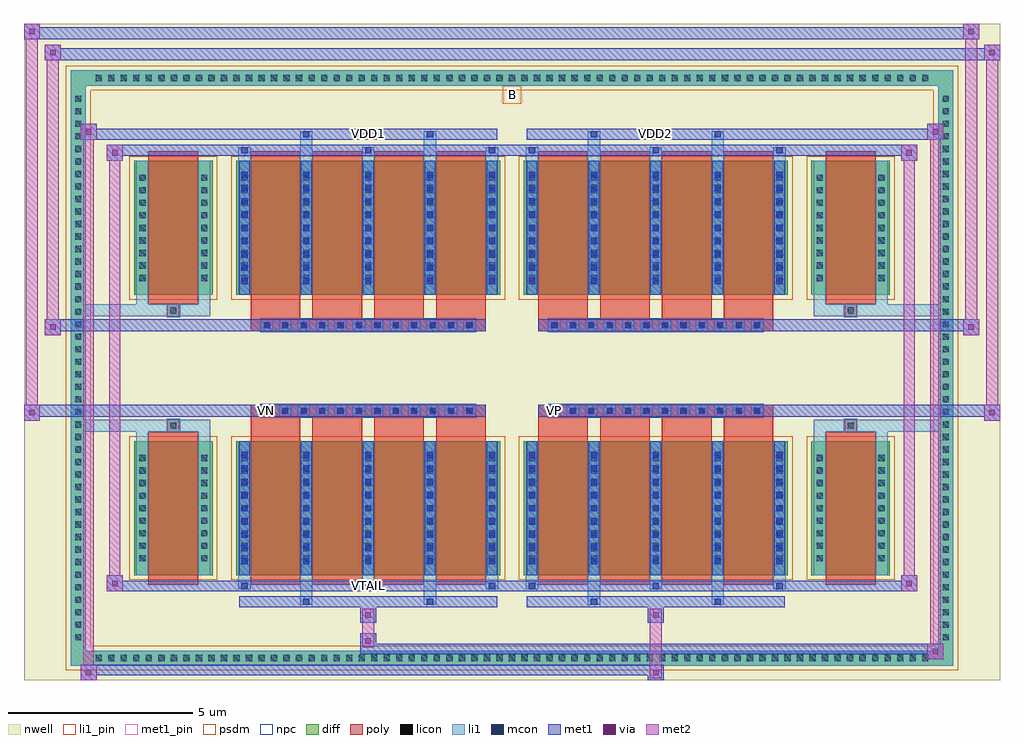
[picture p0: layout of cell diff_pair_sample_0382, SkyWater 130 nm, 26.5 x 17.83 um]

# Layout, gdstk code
import gdstk
lib = gdstk.Library(unit=1e-6, precision=5e-09)
def R(c, l, rs):  # rectangles x0, y0, x1, y1
    for r in rs: c.add(gdstk.rectangle(r[:2], r[2:], *l))
def A(c, l, x, y, w, h, nx, ny, dx, dy):  # array of equal rectangles
    R(c, l, [(x+i*dx, y+j*dy, x+i*dx+w, y+j*dy+h) for i in range(nx) for j in range(ny)])
def P(c, l, *ps):  # polygons
    for p in ps: c.add(gdstk.Polygon(p, *l))
nwell = (64, 20)
diff = (65, 20)
poly = (66, 20)
licon = (66, 44)
li1_pin = (67, 16)
li1 = (67, 20)
mcon = (67, 44)
met1_pin = (68, 16)
met1 = (68, 20)
via = (68, 44)
met2 = (69, 20)
psdm = (94, 20)
npc = (95, 20)

diff_pair_sample_0382 = lib.new_cell('diff_pair_sample_0382')
R(diff_pair_sample_0382, nwell, [(-13.25,-8.48,13.25,9.35), (-10.57,-6.67,-0.01,-0.795), (0.01,-6.67,10.57,-0.795), (-10.57,0.795,-0.01,6.67), (0.01,0.795,10.57,6.67)])
A(diff_pair_sample_0382, diff, -11.425, -8.08, 0.41, 0.41, 67, 2, 0.34, 15.75)
A(diff_pair_sample_0382, diff, -11.98, -7.515, 0.41, 0.41, 1, 44, 0, 0.34)
A(diff_pair_sample_0382, diff, 11.57, -7.515, 0.41, 0.41, 1, 44, 0, 0.34)
R(diff_pair_sample_0382, diff, [(-11.425,-8.08,11.425,-7.67), (-11.98,-7.515,-11.57,7.515), (11.57,-7.515,11.98,7.515), (-10.26,-5.625,-8.13,-1.985), (-7.49,-5.625,-0.32,-1.985), (0.32,-5.625,7.49,-1.985), (8.13,-5.625,10.26,-1.985), (-10.26,1.985,-8.13,5.625), (-7.49,1.985,-0.32,5.625), (0.32,1.985,7.49,5.625), (8.13,1.985,10.26,5.625), (-11.425,7.67,11.425,8.08)])
P(diff_pair_sample_0382, diff, [(11.98,8.08),(-11.98,8.08),(-11.98,-7.67),(-11.57,-7.67),(-11.57,7.67),(11.57,7.67),(11.57,-7.67),(-11.57,-7.67),(-11.98,-7.67),(-11.98,-8.08),(11.98,-8.08)])
A(diff_pair_sample_0382, poly, -7.1, -5.88, 1.35, 4.15, 4, 2, 1.68, 7.61)
A(diff_pair_sample_0382, poly, 0.71, -5.88, 1.35, 4.15, 4, 2, 1.68, 7.61)
A(diff_pair_sample_0382, poly, -7.1, -1.73, 1.35, 0.405, 4, 2, 1.68, 3.055)
A(diff_pair_sample_0382, poly, 0.71, -1.73, 1.35, 0.405, 4, 2, 1.68, 3.055)
A(diff_pair_sample_0382, poly, -6.82, -1.325, 0.33, 0.33, 12, 2, 0.5, 2.32)
A(diff_pair_sample_0382, poly, 0.99, -1.325, 0.33, 0.33, 12, 2, 0.5, 2.32)
R(diff_pair_sample_0382, poly, [(-9.87,-5.88,-8.52,-1.73), (8.52,-5.88,9.87,-1.73), (-9.36,-1.73,-9.03,-1.4), (-9.36,-1.73,-9.03,-1.4), (9.03,-1.73,9.36,-1.4), (9.03,-1.73,9.36,-1.4), (-7.1,-1.325,-0.71,-0.995), (0.71,-1.325,7.1,-0.995), (-7.1,0.995,-0.71,1.325), (0.71,0.995,7.1,1.325), (-9.36,1.4,-9.03,1.73), (-9.36,1.4,-9.03,1.73), (9.03,1.4,9.36,1.73), (9.03,1.4,9.36,1.73), (-9.87,1.73,-8.52,5.88), (8.52,1.73,9.87,5.88)])
A(diff_pair_sample_0382, licon, -11.305, -7.96, 0.17, 0.17, 67, 2, 0.34, 15.75)
A(diff_pair_sample_0382, licon, -11.86, -7.395, 0.17, 0.17, 1, 44, 0, 0.34)
A(diff_pair_sample_0382, licon, 11.69, -7.395, 0.17, 0.17, 1, 44, 0, 0.34)
A(diff_pair_sample_0382, licon, -10.12, -5.25, 0.17, 0.17, 1, 9, 0, 0.34)
A(diff_pair_sample_0382, licon, -8.44, -5.25, 0.17, 0.17, 1, 9, 0, 0.34)
A(diff_pair_sample_0382, licon, -7.35, -5.25, 0.17, 0.17, 5, 9, 1.68, 0.34)
A(diff_pair_sample_0382, licon, 0.46, -5.25, 0.17, 0.17, 5, 9, 1.68, 0.34)
A(diff_pair_sample_0382, licon, 8.27, -5.25, 0.17, 0.17, 1, 9, 0, 0.34)
A(diff_pair_sample_0382, licon, 9.95, -5.25, 0.17, 0.17, 1, 9, 0, 0.34)
A(diff_pair_sample_0382, licon, -6.74, -1.245, 0.17, 0.17, 12, 2, 0.5, 2.32)
A(diff_pair_sample_0382, licon, 1.07, -1.245, 0.17, 0.17, 12, 2, 0.5, 2.32)
A(diff_pair_sample_0382, licon, -10.12, 2.36, 0.17, 0.17, 1, 9, 0, 0.34)
A(diff_pair_sample_0382, licon, -8.44, 2.36, 0.17, 0.17, 1, 9, 0, 0.34)
A(diff_pair_sample_0382, licon, -7.35, 2.36, 0.17, 0.17, 5, 9, 1.68, 0.34)
A(diff_pair_sample_0382, licon, 0.46, 2.36, 0.17, 0.17, 5, 9, 1.68, 0.34)
A(diff_pair_sample_0382, licon, 8.27, 2.36, 0.17, 0.17, 1, 9, 0, 0.34)
A(diff_pair_sample_0382, licon, 9.95, 2.36, 0.17, 0.17, 1, 9, 0, 0.34)
R(diff_pair_sample_0382, licon, [(-9.28,-1.65,-9.11,-1.48), (9.11,-1.65,9.28,-1.48), (-9.28,1.48,-9.11,1.65), (9.11,1.48,9.28,1.65)])
R(diff_pair_sample_0382, li1_pin, [(-0.25,7.17,0.25,7.67)])
A(diff_pair_sample_0382, li1, -11.385, -8.04, 0.33, 0.33, 67, 2, 0.34, 15.75)
A(diff_pair_sample_0382, li1, -11.94, -7.475, 0.33, 0.33, 1, 44, 0, 0.34)
A(diff_pair_sample_0382, li1, 11.61, -7.475, 0.33, 0.33, 1, 44, 0, 0.34)
A(diff_pair_sample_0382, li1, -7.43, -6, 0.33, 0.375, 3, 2, 3.36, 11.625)
A(diff_pair_sample_0382, li1, -7.35, -6, 0.17, 0.17, 3, 2, 3.36, 11.83)
A(diff_pair_sample_0382, li1, 0.38, -6, 0.33, 0.375, 3, 2, 3.36, 11.625)
A(diff_pair_sample_0382, li1, 0.46, -6, 0.17, 0.17, 3, 2, 3.36, 11.83)
A(diff_pair_sample_0382, li1, -7.43, -5.625, 0.33, 3.64, 5, 2, 1.68, 7.61)
A(diff_pair_sample_0382, li1, 0.38, -5.625, 0.33, 3.64, 5, 2, 1.68, 7.61)
A(diff_pair_sample_0382, li1, -10.2, -5.33, 0.33, 0.33, 1, 9, 0, 0.34)
A(diff_pair_sample_0382, li1, -8.52, -5.33, 0.33, 0.33, 1, 9, 0, 0.34)
A(diff_pair_sample_0382, li1, -7.43, -5.33, 0.33, 0.33, 5, 9, 1.68, 0.34)
A(diff_pair_sample_0382, li1, -7.35, -5.33, 0.17, 0.17, 5, 9, 1.68, 0.36)
A(diff_pair_sample_0382, li1, -7.35, -5.33, 0.17, 3.05, 5, 2, 1.68, 7.61)
A(diff_pair_sample_0382, li1, 0.38, -5.33, 0.33, 0.33, 5, 9, 1.68, 0.34)
A(diff_pair_sample_0382, li1, 0.46, -5.33, 0.17, 0.17, 5, 9, 1.68, 0.36)
A(diff_pair_sample_0382, li1, 0.46, -5.33, 0.17, 3.05, 5, 2, 1.68, 7.61)
A(diff_pair_sample_0382, li1, 8.19, -5.33, 0.33, 0.33, 1, 9, 0, 0.34)
A(diff_pair_sample_0382, li1, 9.87, -5.33, 0.33, 0.33, 1, 9, 0, 0.34)
A(diff_pair_sample_0382, li1, -6.82, -1.325, 0.33, 0.33, 12, 2, 0.5, 2.32)
A(diff_pair_sample_0382, li1, 0.99, -1.325, 0.33, 0.33, 12, 2, 0.5, 2.32)
A(diff_pair_sample_0382, li1, -10.2, 2.28, 0.33, 0.33, 1, 9, 0, 0.34)
A(diff_pair_sample_0382, li1, -8.52, 2.28, 0.33, 0.33, 1, 9, 0, 0.34)
A(diff_pair_sample_0382, li1, -7.43, 2.28, 0.33, 0.33, 5, 9, 1.68, 0.34)
A(diff_pair_sample_0382, li1, -7.35, 2.28, 0.17, 0.17, 5, 9, 1.68, 0.36)
A(diff_pair_sample_0382, li1, 0.38, 2.28, 0.33, 0.33, 5, 9, 1.68, 0.34)
A(diff_pair_sample_0382, li1, 0.46, 2.28, 0.17, 0.17, 5, 9, 1.68, 0.36)
A(diff_pair_sample_0382, li1, 8.19, 2.28, 0.33, 0.33, 1, 9, 0, 0.34)
A(diff_pair_sample_0382, li1, 9.87, 2.28, 0.33, 0.33, 1, 9, 0, 0.34)
R(diff_pair_sample_0382, li1, [(-11.98,-8.08,-11.57,-7.67), (-11.98,-8.08,-11.57,-7.67), (-11.57,-8.08,11.57,-7.67), (11.57,-8.08,11.98,-7.67), (11.57,-8.08,11.98,-7.67), (-11.98,-7.67,-11.57,7.67), (11.57,-7.67,11.98,7.67), (-5.75,-6.43,-5.42,-5.625), (-5.67,-6.43,-5.5,-6.26), (-2.39,-6.43,-2.06,-5.625), (-2.31,-6.43,-2.14,-6.26), (2.06,-6.43,2.39,-5.625), (2.14,-6.43,2.31,-6.26), (5.42,-6.43,5.75,-5.625), (5.5,-6.43,5.67,-6.26), (-10.2,-5.625,-9.87,-1.985), (-8.52,-5.625,-8.19,-1.985), (8.19,-5.625,8.52,-1.985), (9.87,-5.625,10.2,-1.985), (-10.2,-1.985,-9.87,-1.4), (-8.52,-1.985,-8.19,-1.4), (8.19,-1.985,8.52,-1.4), (9.87,-1.985,10.2,-1.4), (-11.98,-1.73,-9.36,-1.4), (-10.2,-1.73,-9.36,-1.4), (-9.36,-1.73,-9.03,-1.4), (-9.03,-1.73,-8.19,-1.4), (8.19,-1.73,9.03,-1.4), (9.03,-1.73,9.36,-1.4), (9.03,-1.73,11.98,-1.4), (9.36,-1.73,10.2,-1.4), (-11.98,1.4,-9.36,1.73), (-10.2,1.4,-9.36,1.73), (-10.2,1.4,-9.87,1.985), (-9.36,1.4,-9.03,1.73), (-9.03,1.4,-8.19,1.73), (-8.52,1.4,-8.19,1.985), (8.19,1.4,9.03,1.73), (8.19,1.4,8.52,1.985), (9.03,1.4,9.36,1.73), (9.03,1.4,11.98,1.73), (9.36,1.4,10.2,1.73), (9.87,1.4,10.2,1.985), (-10.2,1.985,-9.87,5.625), (-8.52,1.985,-8.19,5.625), (8.19,1.985,8.52,5.625), (9.87,1.985,10.2,5.625), (-5.75,5.625,-5.42,6.43), (-2.39,5.625,-2.06,6.43), (2.06,5.625,2.39,6.43), (5.42,5.625,5.75,6.43), (-5.67,6.26,-5.5,6.43), (-2.31,6.26,-2.14,6.43), (2.14,6.26,2.31,6.43), (5.5,6.26,5.67,6.43), (-11.98,7.67,-11.57,8.08), (-11.98,7.67,-11.57,8.08), (-11.57,7.67,11.57,8.08), (11.57,7.67,11.98,8.08), (11.57,7.67,11.98,8.08)])
A(diff_pair_sample_0382, mcon, -7.35, -6, 0.17, 0.17, 3, 2, 3.36, 11.83)
A(diff_pair_sample_0382, mcon, 0.46, -6, 0.17, 0.17, 3, 2, 3.36, 11.83)
A(diff_pair_sample_0382, mcon, -7.35, -5.33, 0.17, 0.17, 5, 9, 1.68, 0.36)
A(diff_pair_sample_0382, mcon, 0.46, -5.33, 0.17, 0.17, 5, 9, 1.68, 0.36)
A(diff_pair_sample_0382, mcon, -6.74, -1.245, 0.17, 0.17, 12, 2, 0.5, 2.32)
A(diff_pair_sample_0382, mcon, 1.07, -1.245, 0.17, 0.17, 12, 2, 0.5, 2.32)
A(diff_pair_sample_0382, mcon, -7.35, 2.28, 0.17, 0.17, 5, 9, 1.68, 0.36)
A(diff_pair_sample_0382, mcon, 0.46, 2.28, 0.17, 0.17, 5, 9, 1.68, 0.36)
R(diff_pair_sample_0382, mcon, [(-5.67,-6.43,-5.5,-6.26), (-2.31,-6.43,-2.14,-6.26), (2.14,-6.43,2.31,-6.26), (5.5,-6.43,5.67,-6.26), (-5.67,6.26,-5.5,6.43), (-2.31,6.26,-2.14,6.43), (2.14,6.26,2.31,6.43), (5.5,6.26,5.67,6.43)])
R(diff_pair_sample_0382, met1_pin, [(-4.04,-6.04,-3.77,-5.77), (-6.79,-1.285,-6.52,-1.015), (1.02,-1.285,1.29,-1.015), (-4.04,6.22,-3.77,6.49), (3.77,6.22,4.04,6.49)])
A(diff_pair_sample_0382, met1, -7.41, -6.06, 0.29, 0.29, 3, 2, 3.36, 11.83)
A(diff_pair_sample_0382, met1, 0.4, -6.06, 0.29, 0.29, 3, 2, 3.36, 11.83)
A(diff_pair_sample_0382, met1, -7.41, -5.625, 0.29, 3.64, 5, 2, 1.68, 7.61)
A(diff_pair_sample_0382, met1, 0.4, -5.625, 0.29, 3.64, 5, 2, 1.68, 7.61)
A(diff_pair_sample_0382, met1, -7.41, -5.39, 0.29, 0.29, 5, 9, 1.68, 0.36)
A(diff_pair_sample_0382, met1, 0.4, -5.39, 0.29, 0.29, 5, 9, 1.68, 0.36)
A(diff_pair_sample_0382, met1, -6.8, -1.305, 0.29, 0.29, 12, 2, 0.5, 2.32)
A(diff_pair_sample_0382, met1, 1.01, -1.305, 0.29, 0.29, 12, 2, 0.5, 2.32)
A(diff_pair_sample_0382, met1, -7.41, 2.22, 0.29, 0.29, 5, 9, 1.68, 0.36)
A(diff_pair_sample_0382, met1, 0.4, 2.22, 0.29, 0.29, 5, 9, 1.68, 0.36)
R(diff_pair_sample_0382, met1, [(-11.71,-8.48,-11.28,-8.05), (3.69,-8.48,4.12,-8.05), (-11.71,-8.34,4.12,-8.05), (11.28,-7.91,11.71,-7.48), (-4.12,-7.77,11.71,-7.48), (-4.12,-7.63,-3.69,-7.2), (-4.12,-6.92,-3.69,-6.49), (3.69,-6.92,4.12,-6.49), (-7.41,-6.49,-0.4,-6.2), (-5.73,-6.49,-5.44,-6.2), (-2.37,-6.49,-2.08,-6.2), (0.4,-6.49,7.41,-6.2), (2.08,-6.49,2.37,-6.2), (5.44,-6.49,5.73,-6.2), (-11,-6.06,-10.57,-5.63), (-11,-6.06,-7.41,-5.77), (-7.41,-6.06,-0.4,-5.77), (-0.4,-6.06,0.4,-5.77), (0.4,-6.06,7.41,-5.77), (7.41,-6.06,11,-5.77), (10.57,-6.06,11,-5.63), (-13.25,-1.425,-12.82,-0.995), (12.82,-1.425,13.25,-0.995), (-13.25,-1.325,-0.71,-0.995), (-7.1,-1.325,-0.71,-0.995), (0.71,-1.325,7.1,-0.995), (0.71,-1.325,13.25,-0.995), (-12.68,0.895,-12.25,1.325), (12.25,0.895,12.68,1.325), (-12.68,0.995,-7.1,1.325), (-7.1,0.995,-0.71,1.325), (0.71,0.995,7.1,1.325), (7.1,0.995,12.68,1.325), (-11,5.63,-10.57,6.06), (10.57,5.63,11,6.06), (-11,5.77,-7.41,6.06), (-7.41,5.77,-0.4,6.06), (-0.4,5.77,0.4,6.06), (0.4,5.77,7.41,6.06), (7.41,5.77,11,6.06), (-11.71,6.2,-11.28,6.63), (-11.71,6.2,-7.41,6.49), (-7.41,6.2,-0.4,6.49), (-5.73,6.2,-5.44,6.49), (-2.37,6.2,-2.08,6.49), (0.4,6.2,7.41,6.49), (2.08,6.2,2.37,6.49), (5.44,6.2,5.73,6.49), (7.41,6.2,11.71,6.49), (11.28,6.2,11.71,6.63), (-12.68,8.35,-12.25,8.78), (-12.68,8.35,-10.57,8.68), (-10.57,8.35,10.57,8.68), (10.57,8.35,13.25,8.68), (12.82,8.35,13.25,8.78), (-13.25,8.92,-12.82,9.35), (-13.25,8.92,-10.57,9.25), (-10.57,8.92,10.57,9.25), (10.57,8.92,12.68,9.25), (12.25,8.92,12.68,9.35)])
R(diff_pair_sample_0382, via, [(-11.57,-8.34,-11.42,-8.19), (3.83,-8.34,3.98,-8.19), (11.42,-7.77,11.57,-7.62), (-3.98,-7.49,-3.83,-7.34), (-3.98,-6.78,-3.83,-6.63), (3.83,-6.78,3.98,-6.63), (-10.86,-5.92,-10.71,-5.77), (10.71,-5.92,10.86,-5.77), (-13.11,-1.285,-12.96,-1.135), (12.96,-1.285,13.11,-1.135), (-12.54,1.035,-12.39,1.185), (12.39,1.035,12.54,1.185), (-10.86,5.77,-10.71,5.92), (10.71,5.77,10.86,5.92), (-11.57,6.34,-11.42,6.49), (11.42,6.34,11.57,6.49), (-12.54,8.49,-12.39,8.64), (12.96,8.49,13.11,8.64), (-13.11,9.06,-12.96,9.21), (12.39,9.06,12.54,9.21)])
R(diff_pair_sample_0382, met2, [(-11.71,-8.48,-11.28,-8.05), (-11.64,-8.48,-11.35,6.63), (-11.35,-8.48,-11.28,-8.05), (-11.66,-8.43,-11.33,-8.1), (3.74,-8.43,4.07,-8.1), (3.74,-8.1,4.07,-6.87), (11.28,-7.91,11.71,-7.48), (11.35,-7.91,11.64,6.63), (11.64,-7.91,11.71,-7.48), (11.33,-7.86,11.66,-7.53), (-4.07,-7.58,-3.74,-7.25), (-4.07,-7.25,-3.74,-6.87), (-4.07,-6.87,-3.74,-6.54), (3.74,-6.87,4.07,-6.54), (-11,-6.06,-10.57,-5.63), (-10.93,-6.06,-10.64,6.06), (-10.64,-6.06,-10.57,-5.63), (10.57,-6.06,11,-5.63), (10.64,-6.06,10.93,6.06), (10.93,-6.06,11,-5.63), (-10.95,-6.01,-10.62,-5.68), (10.62,-6.01,10.95,-5.68), (-13.25,-1.425,-12.82,-0.995), (-13.2,-1.425,-12.87,9.35), (-12.87,-1.425,-12.82,-0.995), (12.82,-1.425,13.25,-0.995), (12.87,-1.425,13.2,8.78), (13.2,-1.425,13.25,-0.995), (-13.2,-1.375,-12.87,-1.045), (12.87,-1.375,13.2,-1.045), (-12.68,0.895,-12.25,1.325), (-12.63,0.895,-12.3,8.78), (-12.3,0.895,-12.25,1.325), (12.25,0.895,12.68,1.325), (12.3,0.895,12.63,9.35), (12.63,0.895,12.68,1.325), (-12.63,0.945,-12.3,1.275), (12.3,0.945,12.63,1.275), (-11,5.63,-10.57,6.06), (-10.64,5.63,-10.57,6.06), (10.57,5.63,11,6.06), (10.93,5.63,11,6.06), (-10.95,5.68,-10.62,6.01), (10.62,5.68,10.95,6.01), (-11.71,6.2,-11.28,6.63), (-11.35,6.2,-11.28,6.63), (11.28,6.2,11.71,6.63), (11.64,6.2,11.71,6.63), (-11.66,6.25,-11.33,6.58), (11.33,6.25,11.66,6.58), (-12.68,8.35,-12.25,8.78), (-12.3,8.35,-12.25,8.78), (12.82,8.35,13.25,8.78), (13.2,8.35,13.25,8.78), (-12.63,8.4,-12.3,8.73), (12.87,8.4,13.2,8.73), (-13.25,8.92,-12.82,9.35), (-12.87,8.92,-12.82,9.35), (12.25,8.92,12.68,9.35), (12.63,8.92,12.68,9.35), (-13.2,8.97,-12.87,9.3), (12.3,8.97,12.63,9.3)])
R(diff_pair_sample_0382, psdm, [(-10.39,-5.755,-8,-1.855), (-7.62,-5.755,-0.19,-1.855), (0.19,-5.755,7.62,-1.855), (8,-5.755,10.39,-1.855), (-10.39,1.855,-8,5.755), (-7.62,1.855,-0.19,5.755), (0.19,1.855,7.62,5.755), (8,1.855,10.39,5.755)])
P(diff_pair_sample_0382, psdm, [(12.11,8.21),(-12.11,8.21),(-12.11,-7.54),(-11.44,-7.54),(-11.44,7.54),(11.44,7.54),(11.44,-7.54),(-11.44,-7.54),(-12.11,-7.54),(-12.11,-8.21),(12.11,-8.21)])
A(diff_pair_sample_0382, npc, -6.84, -1.345, 0.37, 0.37, 12, 2, 0.5, 2.32)
A(diff_pair_sample_0382, npc, 0.97, -1.345, 0.37, 0.37, 12, 2, 0.5, 2.32)
R(diff_pair_sample_0382, npc, [(-9.38,-1.75,-9.01,-1.38), (9.01,-1.75,9.38,-1.38), (-6.84,-1.345,-5.97,-0.975), (-6.84,-1.345,-5.97,-0.975), (-6.34,-1.345,-5.47,-0.975), (-6.34,-1.345,-5.47,-0.975), (-5.84,-1.345,-4.97,-0.975), (-5.84,-1.345,-4.97,-0.975), (-5.34,-1.345,-4.47,-0.975), (-5.34,-1.345,-4.47,-0.975), (-4.84,-1.345,-3.97,-0.975), (-4.84,-1.345,-3.97,-0.975), (-4.34,-1.345,-3.47,-0.975), (-4.34,-1.345,-3.47,-0.975), (-3.84,-1.345,-2.97,-0.975), (-3.84,-1.345,-2.97,-0.975), (-3.34,-1.345,-2.47,-0.975), (-3.34,-1.345,-2.47,-0.975), (-2.84,-1.345,-1.97,-0.975), (-2.84,-1.345,-1.97,-0.975), (-2.34,-1.345,-1.47,-0.975), (-2.34,-1.345,-1.47,-0.975), (-1.84,-1.345,-0.97,-0.975), (-1.84,-1.345,-0.97,-0.975), (0.97,-1.345,1.84,-0.975), (0.97,-1.345,1.84,-0.975), (1.47,-1.345,2.34,-0.975), (1.47,-1.345,2.34,-0.975), (1.97,-1.345,2.84,-0.975), (1.97,-1.345,2.84,-0.975), (2.47,-1.345,3.34,-0.975), (2.47,-1.345,3.34,-0.975), (2.97,-1.345,3.84,-0.975), (2.97,-1.345,3.84,-0.975), (3.47,-1.345,4.34,-0.975), (3.47,-1.345,4.34,-0.975), (3.97,-1.345,4.84,-0.975), (3.97,-1.345,4.84,-0.975), (4.47,-1.345,5.34,-0.975), (4.47,-1.345,5.34,-0.975), (4.97,-1.345,5.84,-0.975), (4.97,-1.345,5.84,-0.975), (5.47,-1.345,6.34,-0.975), (5.47,-1.345,6.34,-0.975), (5.97,-1.345,6.84,-0.975), (5.97,-1.345,6.84,-0.975), (-6.84,0.975,-5.97,1.345), (-6.84,0.975,-5.97,1.345), (-6.34,0.975,-5.47,1.345), (-6.34,0.975,-5.47,1.345), (-5.84,0.975,-4.97,1.345), (-5.84,0.975,-4.97,1.345), (-5.34,0.975,-4.47,1.345), (-5.34,0.975,-4.47,1.345), (-4.84,0.975,-3.97,1.345), (-4.84,0.975,-3.97,1.345), (-4.34,0.975,-3.47,1.345), (-4.34,0.975,-3.47,1.345), (-3.84,0.975,-2.97,1.345), (-3.84,0.975,-2.97,1.345), (-3.34,0.975,-2.47,1.345), (-3.34,0.975,-2.47,1.345), (-2.84,0.975,-1.97,1.345), (-2.84,0.975,-1.97,1.345), (-2.34,0.975,-1.47,1.345), (-2.34,0.975,-1.47,1.345), (-1.84,0.975,-0.97,1.345), (-1.84,0.975,-0.97,1.345), (0.97,0.975,1.84,1.345), (0.97,0.975,1.84,1.345), (1.47,0.975,2.34,1.345), (1.47,0.975,2.34,1.345), (1.97,0.975,2.84,1.345), (1.97,0.975,2.84,1.345), (2.47,0.975,3.34,1.345), (2.47,0.975,3.34,1.345), (2.97,0.975,3.84,1.345), (2.97,0.975,3.84,1.345), (3.47,0.975,4.34,1.345), (3.47,0.975,4.34,1.345), (3.97,0.975,4.84,1.345), (3.97,0.975,4.84,1.345), (4.47,0.975,5.34,1.345), (4.47,0.975,5.34,1.345), (4.97,0.975,5.84,1.345), (4.97,0.975,5.84,1.345), (5.47,0.975,6.34,1.345), (5.47,0.975,6.34,1.345), (5.97,0.975,6.84,1.345), (5.97,0.975,6.84,1.345), (-9.38,1.38,-9.01,1.75), (9.01,1.38,9.38,1.75)])
diff_pair_sample_0382.add(gdstk.Label('VTAIL', (-3.905,-5.905), layer=68, texttype=5))
diff_pair_sample_0382.add(gdstk.Label('VN', (-6.655,-1.15), layer=68, texttype=5))
diff_pair_sample_0382.add(gdstk.Label('VP', (1.155,-1.15), layer=68, texttype=5))
diff_pair_sample_0382.add(gdstk.Label('B', (0,7.42), layer=67, texttype=5))
diff_pair_sample_0382.add(gdstk.Label('VDD2', (3.905,6.355), layer=68, texttype=5))
diff_pair_sample_0382.add(gdstk.Label('VDD1', (-3.905,6.355), layer=68, texttype=5))

lib.write_gds('diff_pair_sample_0382.gds')
